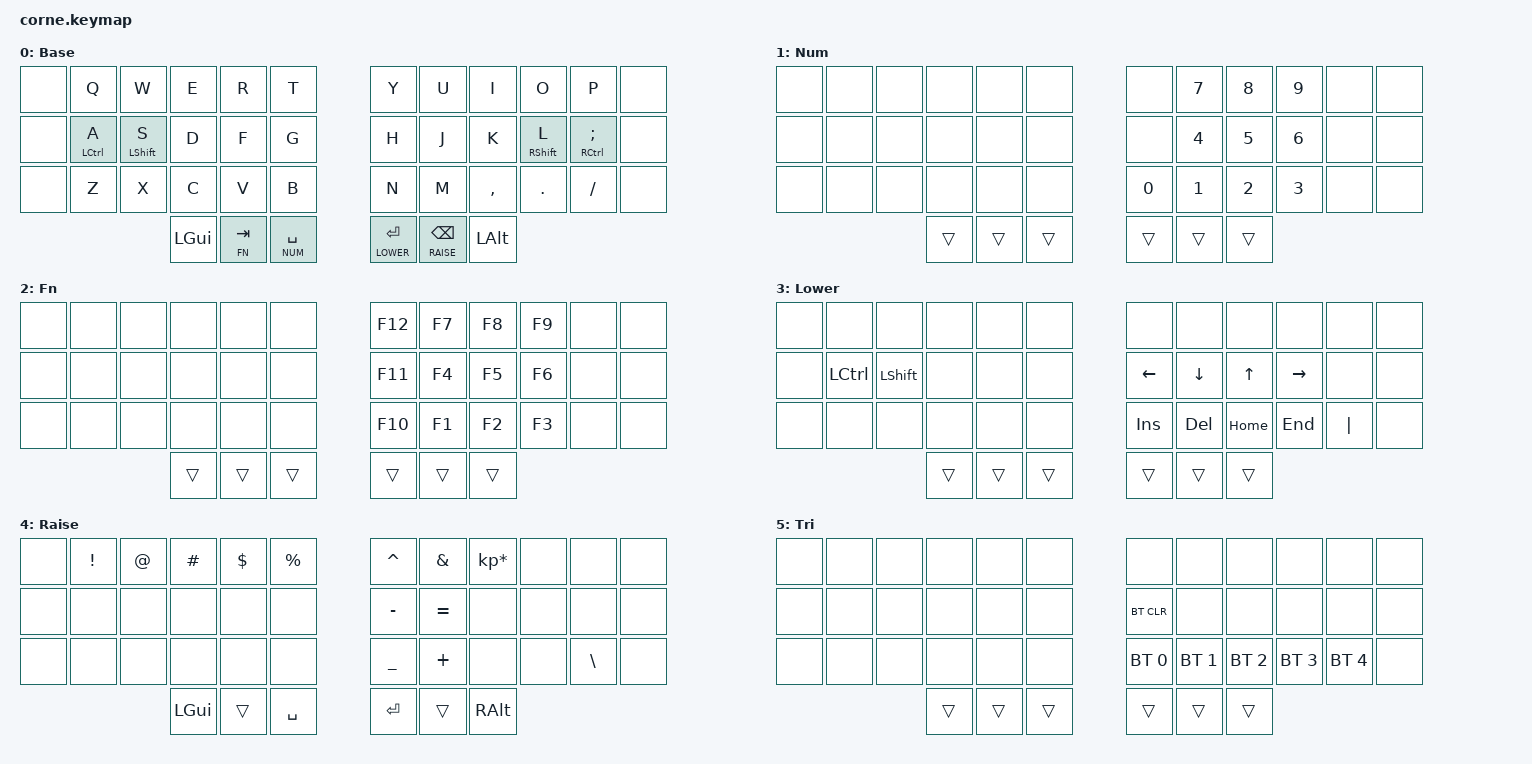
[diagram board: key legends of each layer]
/*
 * Copyright (c) 2020 The ZMK Contributors
 *
 * SPDX-License-Identifier: MIT
 */

#include <behaviors.dtsi>
#include <dt-bindings/zmk/bt.h>
#include <dt-bindings/zmk/keys.h>

#define DEFAULT 0
#define NUM     1
#define FN      2
#define LOWER   3
#define RAISE   4
#define TRI     5

/ {
    behaviors {
        hm: homerow_mods {
            compatible = "zmk,behavior-hold-tap";
            label = "HOMEROW_MODS";
            #binding-cells = <2>;
            tapping-term-ms = <250>;
            quick-tap-ms = <0>;
            flavor = "tap-preferred";
            bindings =
                <&kp>,
                <&kp>;
        };
    };

    conditional_layers {
        compatible = "zmk,conditional-layers";
        tri_layer {
            if-layers = <FN RAISE>;
            then-layer = <TRI>;
        };
    };

    combos {
        compatible = "zmk,combos";

        CMB_LBRK {
            bindings = <&kp LEFT_BRACKET>;
            key-positions = <14 15>;
        };

        CMB_LPAR {
            bindings = <&kp LEFT_PARENTHESIS>;
            key-positions = <15 16>;
        };

        CMB_LBRC {
            bindings = <&kp LEFT_BRACE>;
            key-positions = <16 17>;
        };

        CMB_ESC {
            bindings = <&kp ESC>;
            key-positions = <2 3>;
        };

        CMB_TAB {
            bindings = <&kp TAB>;
            key-positions = <14 16>;
        };

        CMB_RBRK {
            bindings = <&kp RIGHT_BRACKET>;
            key-positions = <20 21>;
        };

        CMB_RPAR {
            bindings = <&kp RIGHT_PARENTHESIS>;
            key-positions = <19 20>;
        };

        CMB_RBRC {
            bindings = <&kp RIGHT_BRACE>;
            key-positions = <18 19>;
        };

        CMB_SQT {
            bindings = <&kp SINGLE_QUOTE>;
            key-positions = <19 21>;
        };

        CMB_GRAVE_TILDE {
            bindings = <&kp GRAVE>;
            key-positions = <8 9>;
        };
    };

    keymap {
        compatible = "zmk,keymap";

        default_layer {
            label = "Base";
            bindings = <
&none  &kp Q        &kp W         &kp E     &kp R       &kp T          &kp Y          &kp U           &kp I      &kp O         &kp P           &none
&none  &hm LCTRL A  &hm LSHIFT S  &kp D     &kp F       &kp G          &kp H          &kp J           &kp K      &hm RSHIFT L  &hm RCTRL SEMI  &none
&none  &kp Z        &kp X         &kp C     &kp V       &kp B          &kp N          &kp M           &kp COMMA  &kp DOT       &kp FSLH        &none
                                  &kp LGUI  &lt FN TAB  &lt NUM SPACE  &lt LOWER RET  &lt RAISE BSPC  &kp LALT
            >;
        };

        num_layer {
            label = "Num";
            bindings = <
&none  &none        &none         &none     &none       &none          &none          &kp N7          &kp N8     &kp N9        &none           &none
&none  &none        &none         &none     &none       &none          &none          &kp N4          &kp N5     &kp N6        &none           &none
&none  &none        &none         &none     &none       &none          &kp N0         &kp N1          &kp N2     &kp N3        &none           &none
                                  &trans    &trans      &trans         &trans         &trans          &trans
            >;
        };

        fn_layer {
            label = "Fn";
            bindings = <
&none  &none        &none         &none     &none       &none          &kp F12        &kp F7          &kp F8     &kp F9        &none           &none
&none  &none        &none         &none     &none       &none          &kp F11        &kp F4          &kp F5     &kp F6        &none           &none
&none  &none        &none         &none     &none       &none          &kp F10        &kp F1          &kp F2     &kp F3        &none           &none
                                  &trans    &trans      &trans         &trans         &trans          &trans
            >;
        };


        lower_layer {
            label = "Lower";
            bindings = <
&none  &none        &none         &none     &none       &none          &none          &none           &none      &none         &none           &none
&none  &kp LCTRL    &kp LSHIFT    &none     &none       &none          &kp LEFT       &kp DOWN        &kp UP     &kp RIGHT     &none           &none
&none  &none        &none         &none     &none       &none          &kp INS        &kp DEL         &kp HOME   &kp END       &kp PIPE        &none
                                  &trans    &trans      &trans         &trans         &trans          &trans
            >;
        };

        raise_layer {
            label = "Raise";
            bindings = <
&none  &kp EXCL     &kp AT        &kp HASH  &kp DLLR    &kp PRCNT      &kp CARET      &kp AMPS        &kp KP_MULTIPLY &none    &none           &none
&none  &none        &none         &none     &none       &none          &kp MINUS      &kp EQUAL       &none      &none         &none           &none
&none  &none        &none         &none     &none       &none          &kp UNDER      &kp PLUS        &none      &none         &kp BSLH        &none
                                  &kp LGUI  &trans      &kp SPACE      &kp RET        &trans          &kp RALT
            >;
        };

        tri_layer {
            label = "Tri";
            bindings = <
&none  &none        &none         &none     &none       &none          &none          &none           &none      &none         &none           &none
&none  &none        &none         &none     &none       &none          &bt BT_CLR     &none           &none      &none         &none           &none
&none  &none        &none         &none     &none       &none          &bt BT_SEL 0   &bt BT_SEL 1    &bt BT_SEL 2 &bt BT_SEL 3 &bt BT_SEL 4   &none
                                  &trans    &trans      &trans         &trans         &trans          &trans
            >;
        };

        extra_1 {
                status = "reserved";
        };

        extra_2 {
                status = "reserved";
        };

        extra_3 {
                status = "reserved";
        };
        };
};
